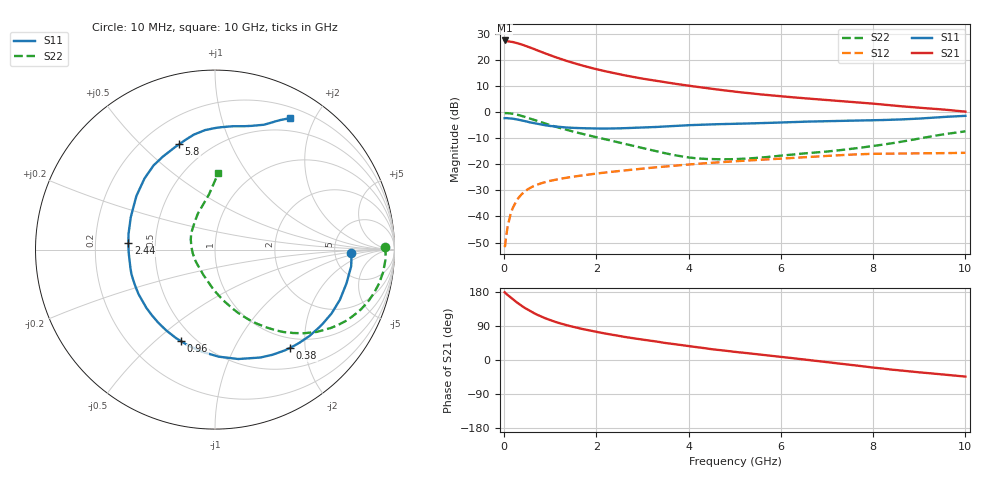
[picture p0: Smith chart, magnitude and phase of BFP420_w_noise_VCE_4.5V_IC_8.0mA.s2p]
! Infineon Technologies  Discrete & RF Semiconductors
! BFP420
! VCE =  4.5 V,  IC =  8.0 mA
! Common Emitter S-Parameters:  Jan 2016
# GHz  S  MA  R  50
!  f  S11  S21  S12  S22
! GHz  MAG  ANG  MAG  ANG  MAG  ANG  MAG  ANG
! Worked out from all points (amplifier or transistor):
!   233 points, 10 MHz to 10 GHz, reference 50 ohm
!   highest |S21| = 27.4 dB at 10 MHz (marker M1)
!   |S21| within 3 dB of that: start of sweep to 606 MHz
!   unconditionally stable (mu >= 1): start of sweep to 17.11 MHz; 2.579 GHz to end of sweep
!   at 200 MHz: K = 0.25, MSG = 31.5 dB, |S12| = -36.2 dB
!   at 1.74 GHz: K = 0.76, MSG = 20.9 dB, |S12| = -24.2 dB
!   at 10 GHz: K = 1.10, MAG = 6.0 dB, |S12| = -15.6 dB
!   lowest NFmin = 0.79 dB at 900 MHz
!   S11 on the Smith chart (normalised r, x): 10 MHz: 7.21, -0.67; 380 MHz: 0.82, -1.72; 960 MHz: 0.42, -0.61; 2.44 GHz: 0.35, +0.03; 5.8 GHz: 0.34, +0.66; 10 GHz: 0.33, +1.67
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0.01  0.7582 -1.5  23.34 178.7  0.0028 10.3  0.9474 0.9
0.02  0.7611 -2.8  22.64 177.4  0.0027 34.1  0.9507 -1.4
0.1  0.7562 -14.5  22.4 169.2  0.0081 67.5  0.945 -7.7
0.2  0.7406 -28.7  21.64 159.3  0.0154 68.4  0.9181 -15.3
0.3  0.7132 -42.4  20.56 149.9  0.022 65.0  0.8782 -22.3
0.38  0.6887 -52.6  19.53 143.0  0.0266 61.7  0.8399 -27.3
0.5  0.6526 -67.1  17.93 133.5  0.0326 57.2  0.7791 -34.1
0.6  0.6232 -78.0  16.61 126.5  0.0367 53.7  0.7287 -39.0
0.8  0.5737 -97.2  14.16 114.7  0.0431 48.6  0.6366 -46.9
0.96  0.544 -110.4  12.52 107.0  0.0471 45.7  0.5741 -52.1
1.1  0.5264 -120.8  11.29 101.0  0.0502 43.7  0.5268 -56.0
1.28  0.5088 -132.5  9.966 94.4  0.0537 41.8  0.4741 -60.5
1.68  0.4893 -153.8  7.804 82.3  0.0608 38.8  0.3835 -69.1
2  0.4823 -167.6  6.583 74.2  0.0662 37.2  0.329 -74.9
2.44  0.4839 175.8  5.392 64.6  0.0734 34.9  0.2665 -83.7
3.4  0.5225 148.3  3.806 46.8  0.0889 29.8  0.1689 -107.8
4  0.5578 134.8  3.177 36.5  0.0988 26.3  0.1346 -130.7
5.1  0.5961 118.0  2.393 20.3  0.1152 18.9  0.1262 -174.0
5.8  0.6201 108.8  2.071 11.0  0.125 14.4  0.1397 163.1
6.8  0.6604 97.0  1.746 -2.8  0.1408 7.0  0.1686 138.5
8.4  0.7078 76.3  1.335 -25.3  0.1594 -8.5  0.2509 106.6
10  0.8423 60.4  1.014 -43.8  0.1652 -19.6  0.4255 87.6
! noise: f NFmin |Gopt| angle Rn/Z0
0.9  0.79  0.08  30  0.13
1.8  1.14  0.06  171  0.12
2.4  1.24  0.1  160  0.13
3  1.32  0.17  -165  0.12
4  1.46  0.32  -132  0.14
5  1.85  0.39  -110  0.25
6  2.3  0.46  -95  0.37
